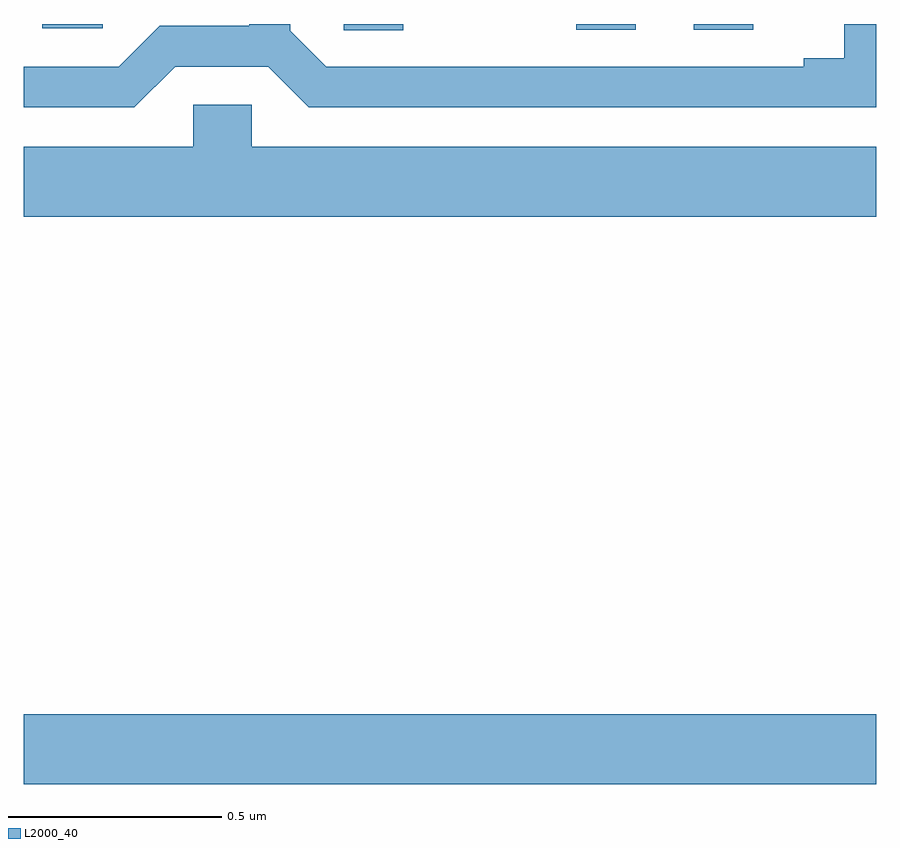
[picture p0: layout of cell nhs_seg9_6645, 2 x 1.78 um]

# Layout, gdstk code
import gdstk
lib = gdstk.Library(unit=1e-6, precision=1e-09)
def R(c, l, rs):  # rectangles x0, y0, x1, y1
    for r in rs: c.add(gdstk.rectangle(r[:2], r[2:], *l))
def P(c, l, *ps):  # polygons
    for p in ps: c.add(gdstk.Polygon(p, *l))
L2000_40 = (2000, 40)

nhs_seg9_6645 = lib.new_cell('nhs_seg9_6645')
R(nhs_seg9_6645, L2000_40, [(194,1233.716,196,1233.88), (194.751,1235.485,194.89,1235.5), (195.296,1235.487,195.436,1235.5), (195.572,1235.487,195.712,1235.5), (194.043,1235.49,194.185,1235.5)])
P(nhs_seg9_6645, L2000_40, [(194.355,1235.4),(194.573,1235.4),(194.669,1235.304),(196,1235.304),(196,1235.5),(195.926,1235.5),(195.926,1235.42),(195.83,1235.42),(195.83,1235.4),(194.709,1235.4),(194.625,1235.484),(194.625,1235.5),(194.529,1235.5),(194.529,1235.496),(194.319,1235.496),(194.223,1235.4),(194,1235.4),(194,1235.304),(194.259,1235.304)],
  [(196,1235.212),(194.535,1235.212),(194.535,1235.31),(194.397,1235.31),(194.397,1235.212),(194,1235.212),(194,1235.048),(196,1235.048)])

lib.write_gds('nhs_seg9_6645.gds')
